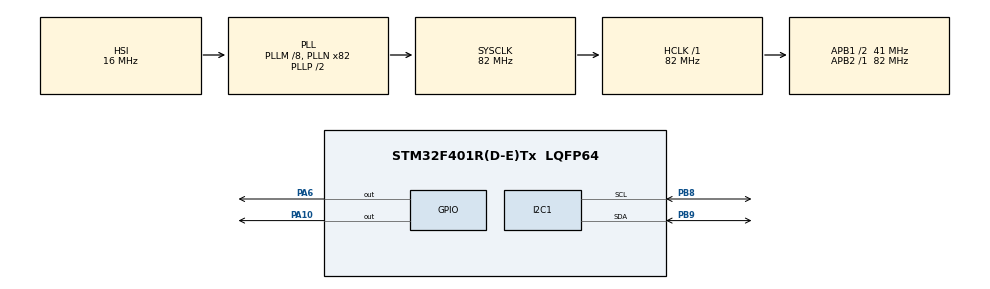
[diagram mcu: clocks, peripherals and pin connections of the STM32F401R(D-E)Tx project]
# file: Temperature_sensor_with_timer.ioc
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ADC1.Channel-0\#ChannelRegularConversion=ADC_CHANNEL_VREFINT
ADC1.Channel-1\#ChannelRegularConversion=ADC_CHANNEL_TEMPSENSOR
ADC1.ClockPrescaler=ADC_CLOCK_SYNC_PCLK_DIV4
ADC1.ContinuousConvMode=ENABLE
ADC1.DMAContinuousRequests=ENABLE
ADC1.ExternalTrigConv=ADC_EXTERNALTRIGCONV_T3_TRGO
ADC1.InjNumberOfConversion=0
ADC1.NbrOfConversion=2
ADC1.NbrOfConversionFlag=1
ADC1.Rank-0\#ChannelRegularConversion=1
ADC1.Rank-1\#ChannelRegularConversion=2
ADC1.SamplingTime-0\#ChannelRegularConversion=ADC_SAMPLETIME_480CYCLES
ADC1.SamplingTime-1\#ChannelRegularConversion=ADC_SAMPLETIME_480CYCLES
ADC1.ScanConvMode=ENABLE
ADC1.master=1
Dma.ADC1.0.Direction=DMA_PERIPH_TO_MEMORY
Dma.ADC1.0.FIFOMode=DMA_FIFOMODE_DISABLE
Dma.ADC1.0.Instance=DMA2_Stream0
Dma.ADC1.0.MemDataAlignment=DMA_MDATAALIGN_HALFWORD
Dma.ADC1.0.MemInc=DMA_MINC_ENABLE
Dma.ADC1.0.Mode=DMA_CIRCULAR
Dma.ADC1.0.PeriphDataAlignment=DMA_PDATAALIGN_HALFWORD
Dma.ADC1.0.PeriphInc=DMA_PINC_DISABLE
Dma.ADC1.0.Priority=DMA_PRIORITY_LOW
Dma.Request0=ADC1
Mcu.Family=STM32F4
Mcu.Name=STM32F401R(D-E)Tx
Mcu.Package=LQFP64
NVIC.ADC_IRQn=true\:0\:0\:false\:false\:true\:true\:true\:true
NVIC.DMA2_Stream0_IRQn=true\:0\:0\:false\:false\:true\:false\:true\:true
NVIC.PriorityGroup=NVIC_PRIORITYGROUP_4
NVIC.TIM3_IRQn=true\:0\:0\:false\:false\:true\:true\:true\:true
PA10.Signal=GPIO_Output
PA13.Mode=Serial_Wire
PA13.Signal=SYS_JTMS-SWDIO
PA14.Mode=Serial_Wire
PA14.Signal=SYS_JTCK-SWCLK
PA6.Signal=GPIO_Output
PB8.Mode=I2C
PB8.Signal=I2C1_SCL
PB9.Mode=I2C
PB9.Signal=I2C1_SDA
PH0\ -\ OSC_IN.Mode=HSE-External-Oscillator
PH0\ -\ OSC_IN.Signal=RCC_OSC_IN
PH1\ -\ OSC_OUT.Mode=HSE-External-Oscillator
PH1\ -\ OSC_OUT.Signal=RCC_OSC_OUT
ProjectManager.HeapSize=0x200
ProjectManager.StackSize=0x400
ProjectManager.TargetToolchain=STM32CubeIDE
RCC.48MHZClocksFreq_Value=41000000
RCC.AHBFreq_Value=82000000
RCC.APB1CLKDivider=RCC_HCLK_DIV2
RCC.APB1Freq_Value=41000000
RCC.APB1TimFreq_Value=82000000
RCC.APB2Freq_Value=82000000
RCC.APB2TimFreq_Value=82000000
RCC.CortexFreq_Value=82000000
RCC.HCLKFreq_Value=82000000
RCC.HSE_VALUE=25000000
RCC.HSI_VALUE=16000000
RCC.LSE_VALUE=32768
RCC.PLLM=8
RCC.PLLN=82
RCC.SYSCLKFreq_VALUE=82000000
RCC.SYSCLKSource=RCC_SYSCLKSOURCE_PLLCLK
RCC.VCOOutputFreq_Value=164000000
TIM3.Period=10000-1
TIM3.Prescaler=820-1
TIM3.TIM_MasterOutputTrigger=TIM_TRGO_UPDATE
VP_ADC1_TempSens_Input.Mode=IN-TempSens
VP_ADC1_Vref_Input.Mode=IN-Vrefint
VP_TIM3_VS_ClockSourceINT.Mode=Internal
board=custom

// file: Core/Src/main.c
/* USER CODE BEGIN Header */
/**
  ******************************************************************************
  * @file           : main.c
  * @brief          : Main program body
  ******************************************************************************
  * @attention
  *
  * Copyright (c) 2023 STMicroelectronics.
  * All rights reserved.
  *
  * This software is licensed under terms that can be found in the LICENSE file
  * in the root directory of this software component.
  * If no LICENSE file comes with this software, it is provided AS-IS.
  *
  ******************************************************************************
  */
/* USER CODE END Header */
#include "main.h"
#include <lcd_i2c.h>
/* USER CODE BEGIN Includes */
#include <stdio.h>
#include <stdlib.h>
#include "stm32f4xx_hal.h"

/* USER CODE END Includes */

/* USER CODE BEGIN PD */
#define adcmax 4095.0            //max value of adc
#define avg_slope 0.0025      //2.5mv/C
#define vref 1.21              //internal reference voltage
#define V25 0.76             //sensor voltage at 25C

/* USER CODE END PD */

ADC_HandleTypeDef hadc1;
DMA_HandleTypeDef hdma_adc1;

I2C_HandleTypeDef hi2c1;

TIM_HandleTypeDef htim3;

/* USER CODE BEGIN PV */
uint16_t adc_raw[2];
uint8_t  adc_conv_cplt_falge;

float Vref ;
double temperature ;
float Vtemp_sensor;
char temp_string[20];

/* USER CODE END PV */

void SystemClock_Config(void);
static void MX_GPIO_Init(void);
static void MX_DMA_Init(void);
static void MX_ADC1_Init(void);
static void MX_TIM3_Init(void);
static void MX_I2C1_Init(void);

int main(void)
{

  /* MCU Configuration--------------------------------------------------------*/

  /* Reset of all peripherals, Initializes the Flash interface and the Systick. */
  HAL_Init();

  /* Configure the system clock */
  SystemClock_Config();

  /* Initialize all configured peripherals */
  MX_GPIO_Init();
  MX_DMA_Init();
  MX_ADC1_Init();
  MX_TIM3_Init();
  MX_I2C1_Init();
  /* USER CODE BEGIN 2 */

  HAL_ADC_Start_DMA(&hadc1, (uint32_t*) adc_raw, 2);
  HAL_TIM_Base_Start(&htim3);

  /* USER CODE END 2 */
  lcd_init();
	  lcd_send_string("Temperature: ");

  /* Infinite loop */
  /* USER CODE BEGIN WHILE */
  /* USER CODE BEGIN WHILE */
  while (1)
   {
     /* USER CODE END WHILE */
 	  if (adc_conv_cplt_falge)                       //ADC CONVERSION FLAG
 	  {
 		  Vref = (vref * adcmax) / adc_raw[0];
 		  Vtemp_sensor = (Vref * adc_raw[1]) /adcmax;
 		  temperature = (Vtemp_sensor - V25) / (avg_slope) + 25;   //temp =(VSENSE-V25) / (AVR_SLOPE)+25

 		  sprintf(temp_string, "%f", temperature);
 		  lcd_send_cmd(0xc0);
 		  lcd_send_string(temp_string);

 		  if (temperature > 28)                     //ALERT
 		  {
 			  HAL_GPIO_WritePin (GPIOA, GPIO_PIN_10, SET);  // set led ON
 			  HAL_GPIO_WritePin (GPIOA, GPIO_PIN_6, SET);  // set led ON

 		  }
 		  adc_conv_cplt_falge = 0;
 	  }
   }
  /* USER CODE END 3 */
}

void SystemClock_Config(void)
{
  RCC_OscInitTypeDef RCC_OscInitStruct = {0};
  RCC_ClkInitTypeDef RCC_ClkInitStruct = {0};

  /** Configure the main internal regulator output voltage
  */
  __HAL_RCC_PWR_CLK_ENABLE();
  __HAL_PWR_VOLTAGESCALING_CONFIG(PWR_REGULATOR_VOLTAGE_SCALE2);

  /** Initializes the RCC Oscillators according to the specified parameters
  * in the RCC_OscInitTypeDef structure.
  */
  RCC_OscInitStruct.OscillatorType = RCC_OSCILLATORTYPE_HSI;
  RCC_OscInitStruct.HSIState = RCC_HSI_ON;
  RCC_OscInitStruct.HSICalibrationValue = RCC_HSICALIBRATION_DEFAULT;
  RCC_OscInitStruct.PLL.PLLState = RCC_PLL_ON;
  RCC_OscInitStruct.PLL.PLLSource = RCC_PLLSOURCE_HSI;
  RCC_OscInitStruct.PLL.PLLM = 8;
  RCC_OscInitStruct.PLL.PLLN = 82;
  RCC_OscInitStruct.PLL.PLLP = RCC_PLLP_DIV2;
  RCC_OscInitStruct.PLL.PLLQ = 4;
  if (HAL_RCC_OscConfig(&RCC_OscInitStruct) != HAL_OK)
  {
    Error_Handler();
  }

  /** Initializes the CPU, AHB and APB buses clocks
  */
  RCC_ClkInitStruct.ClockType = RCC_CLOCKTYPE_HCLK|RCC_CLOCKTYPE_SYSCLK
                              |RCC_CLOCKTYPE_PCLK1|RCC_CLOCKTYPE_PCLK2;
  RCC_ClkInitStruct.SYSCLKSource = RCC_SYSCLKSOURCE_PLLCLK;
  RCC_ClkInitStruct.AHBCLKDivider = RCC_SYSCLK_DIV1;
  RCC_ClkInitStruct.APB1CLKDivider = RCC_HCLK_DIV2;
  RCC_ClkInitStruct.APB2CLKDivider = RCC_HCLK_DIV1;

  if (HAL_RCC_ClockConfig(&RCC_ClkInitStruct, FLASH_LATENCY_2) != HAL_OK)
  {
    Error_Handler();
  }
}

static void MX_ADC1_Init(void)
{

  ADC_ChannelConfTypeDef sConfig = {0};

  /** Configure the global features of the ADC (Clock, Resolution, Data Alignment and number of conversion)
  */
  hadc1.Instance = ADC1;
  hadc1.Init.ClockPrescaler = ADC_CLOCK_SYNC_PCLK_DIV4;
  hadc1.Init.Resolution = ADC_RESOLUTION_12B;
  hadc1.Init.ScanConvMode = ENABLE;
  hadc1.Init.ContinuousConvMode = ENABLE;
  hadc1.Init.DiscontinuousConvMode = DISABLE;
  hadc1.Init.ExternalTrigConvEdge = ADC_EXTERNALTRIGCONVEDGE_RISING;
  hadc1.Init.ExternalTrigConv = ADC_EXTERNALTRIGCONV_T3_TRGO;
  hadc1.Init.DataAlign = ADC_DATAALIGN_RIGHT;
  hadc1.Init.NbrOfConversion = 2;
  hadc1.Init.DMAContinuousRequests = ENABLE;
  hadc1.Init.EOCSelection = ADC_EOC_SINGLE_CONV;
  if (HAL_ADC_Init(&hadc1) != HAL_OK)
  {
    Error_Handler();
  }

  /** Configure for the selected ADC regular channel its corresponding rank in the sequencer and its sample time.
  */
  sConfig.Channel = ADC_CHANNEL_VREFINT;
  sConfig.Rank = 1;
  sConfig.SamplingTime = ADC_SAMPLETIME_480CYCLES;
  if (HAL_ADC_ConfigChannel(&hadc1, &sConfig) != HAL_OK)
  {
    Error_Handler();
  }

  /** Configure for the selected ADC regular channel its corresponding rank in the sequencer and its sample time.
  */
  sConfig.Channel = ADC_CHANNEL_TEMPSENSOR;
  sConfig.Rank = 2;
  if (HAL_ADC_ConfigChannel(&hadc1, &sConfig) != HAL_OK)
  {
    Error_Handler();
  }

}

static void MX_I2C1_Init(void)
{

  hi2c1.Instance = I2C1;
  hi2c1.Init.ClockSpeed = 100000;
  hi2c1.Init.DutyCycle = I2C_DUTYCYCLE_2;
  hi2c1.Init.OwnAddress1 = 0;
  hi2c1.Init.AddressingMode = I2C_ADDRESSINGMODE_7BIT;
  hi2c1.Init.DualAddressMode = I2C_DUALADDRESS_DISABLE;
  hi2c1.Init.OwnAddress2 = 0;
  hi2c1.Init.GeneralCallMode = I2C_GENERALCALL_DISABLE;
  hi2c1.Init.NoStretchMode = I2C_NOSTRETCH_DISABLE;
  if (HAL_I2C_Init(&hi2c1) != HAL_OK)
  {
    Error_Handler();
  }

}

static void MX_TIM3_Init(void)
{

  TIM_ClockConfigTypeDef sClockSourceConfig = {0};
  TIM_MasterConfigTypeDef sMasterConfig = {0};

  htim3.Instance = TIM3;
  htim3.Init.Prescaler = 820-1;
  htim3.Init.CounterMode = TIM_COUNTERMODE_UP;
  htim3.Init.Period = 10000-1;
  htim3.Init.ClockDivision = TIM_CLOCKDIVISION_DIV1;
  htim3.Init.AutoReloadPreload = TIM_AUTORELOAD_PRELOAD_DISABLE;
  if (HAL_TIM_Base_Init(&htim3) != HAL_OK)
  {
    Error_Handler();
  }
  sClockSourceConfig.ClockSource = TIM_CLOCKSOURCE_INTERNAL;
  if (HAL_TIM_ConfigClockSource(&htim3, &sClockSourceConfig) != HAL_OK)
  {
    Error_Handler();
  }
  sMasterConfig.MasterOutputTrigger = TIM_TRGO_UPDATE;
  sMasterConfig.MasterSlaveMode = TIM_MASTERSLAVEMODE_DISABLE;
  if (HAL_TIMEx_MasterConfigSynchronization(&htim3, &sMasterConfig) != HAL_OK)
  {
    Error_Handler();
  }

}

static void MX_DMA_Init(void)
{

  /* DMA controller clock enable */
  __HAL_RCC_DMA2_CLK_ENABLE();

  /* DMA interrupt init */
  /* DMA2_Stream0_IRQn interrupt configuration */
  HAL_NVIC_SetPriority(DMA2_Stream0_IRQn, 0, 0);
  HAL_NVIC_EnableIRQ(DMA2_Stream0_IRQn);

}

static void MX_GPIO_Init(void)
{
  GPIO_InitTypeDef GPIO_InitStruct = {0};

  /* GPIO Ports Clock Enable */
  __HAL_RCC_GPIOH_CLK_ENABLE();
  __HAL_RCC_GPIOA_CLK_ENABLE();
  __HAL_RCC_GPIOB_CLK_ENABLE();

  /*Configure GPIO pin Output Level */
  HAL_GPIO_WritePin(GPIOA, GPIO_PIN_6|GPIO_PIN_10, GPIO_PIN_RESET);

  /*Configure GPIO pins : PA6 PA10 */
  GPIO_InitStruct.Pin = GPIO_PIN_6|GPIO_PIN_10;
  GPIO_InitStruct.Mode = GPIO_MODE_OUTPUT_PP;
  GPIO_InitStruct.Pull = GPIO_NOPULL;
  GPIO_InitStruct.Speed = GPIO_SPEED_FREQ_LOW;
  HAL_GPIO_Init(GPIOA, &GPIO_InitStruct);

}

/* USER CODE BEGIN 4 */
void HAL_ADC_ConvCpltCallback(ADC_HandleTypeDef *hadc)
{
	if (hadc->Instance == ADC1)
	{
		adc_conv_cplt_falge = 255;
	}
}
/* USER CODE END 4 */

void Error_Handler(void)
{
  __disable_irq();
  while (1)
  {
  }
}
